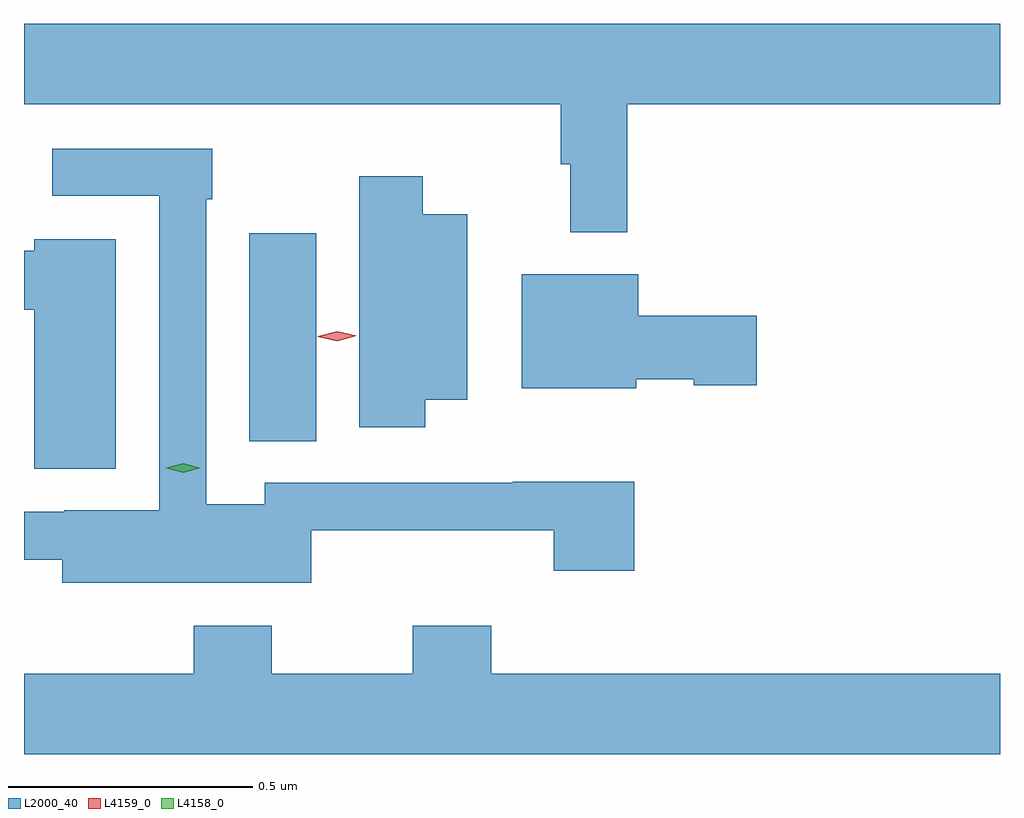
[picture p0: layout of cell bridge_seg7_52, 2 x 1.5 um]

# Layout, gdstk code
import gdstk
lib = gdstk.Library(unit=1e-6, precision=1e-09)
def R(c, l, rs):  # rectangles x0, y0, x1, y1
    for r in rs: c.add(gdstk.rectangle(r[:2], r[2:], *l))
def P(c, l, *ps):  # polygons
    for p in ps: c.add(gdstk.Polygon(p, *l))
L2000_40 = (2000, 40)
L4158_0 = (4158, 0)
L4159_0 = (4159, 0)

bridge_seg7_52 = lib.new_cell('bridge_seg7_52')
R(bridge_seg7_52, L2000_40, [(923.933,1001.257,924.07,1001.683)])
P(bridge_seg7_52, L2000_40, [(924.707,1001.948),(925.471,1001.948),(925.471,1002.112),(923.471,1002.112),(923.471,1001.948),(924.571,1001.948),(924.571,1001.825),(924.59,1001.825),(924.59,1001.685),(924.707,1001.685)],
  [(924.06,1001.075),(924.557,1001.075),(924.557,1000.992),(924.722,1000.992),(924.722,1001.174),(924.473,1001.174),(924.473,1001.172),(923.964,1001.172),(923.964,1001.128),(923.844,1001.128),(923.844,1001.753),(923.857,1001.753),(923.857,1001.856),(923.529,1001.856),(923.529,1001.76),(923.748,1001.76),(923.748,1001.116),(923.553,1001.116),(923.553,1001.112),(923.471,1001.112),(923.471,1001.014),(923.549,1001.014),(923.549,1000.967),(924.06,1000.967)],
  [(924.293,1001.342),(924.379,1001.342),(924.379,1001.722),(924.288,1001.722),(924.288,1001.8),(924.158,1001.8),(924.158,1001.286),(924.293,1001.286)],
  [(923.659,1001.671),(923.492,1001.671),(923.492,1001.647),(923.471,1001.647),(923.471,1001.526),(923.492,1001.526),(923.492,1001.201),(923.659,1001.201)],
  [(924.726,1001.384),(924.843,1001.384),(924.843,1001.372),(924.973,1001.372),(924.973,1001.514),(924.73,1001.514),(924.73,1001.599),(924.491,1001.599),(924.491,1001.366),(924.726,1001.366)],
  [(925.471,1000.78),(924.428,1000.78),(924.428,1000.879),(924.268,1000.879),(924.268,1000.78),(923.979,1000.78),(923.979,1000.879),(923.819,1000.879),(923.819,1000.78),(923.471,1000.78),(923.471,1000.616),(925.471,1000.616)])
P(bridge_seg7_52, L4158_0, [(923.797,1001.192),(923.762,1001.202),(923.762,1001.202),(923.762,1001.203),(923.797,1001.212),(923.831,1001.203),(923.831,1001.202),(923.831,1001.202)])
P(bridge_seg7_52, L4159_0, [(924.113,1001.462),(924.073,1001.471),(924.073,1001.471),(924.073,1001.472),(924.113,1001.482),(924.153,1001.473),(924.153,1001.473),(924.153,1001.473)])

lib.write_gds('bridge_seg7_52.gds')
